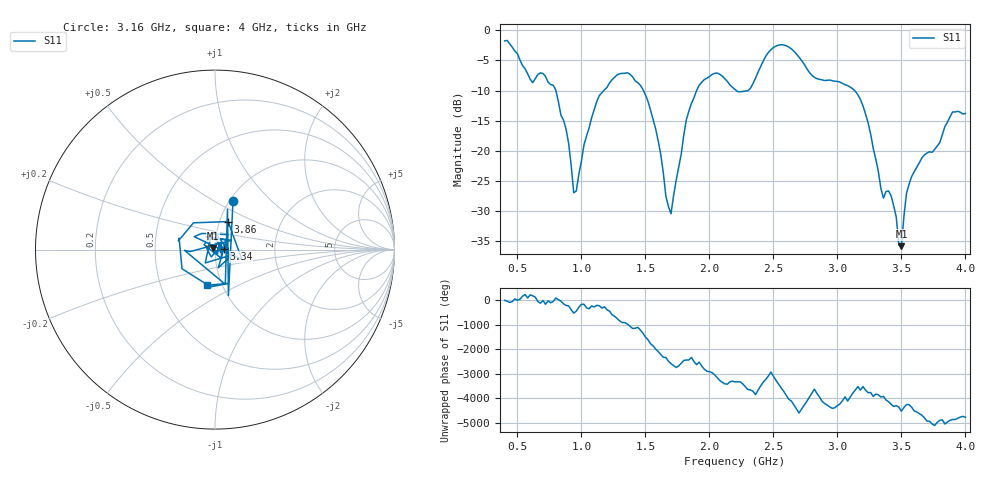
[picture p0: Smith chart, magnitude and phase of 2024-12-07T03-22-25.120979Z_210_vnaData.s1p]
!Created with skrf (http://scikit-rf.org).
# Hz S RI R 50.0
!freq ReS11 ImS11
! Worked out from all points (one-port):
!   181 points, 400 MHz to 4 GHz, reference 50 ohm
!   lowest |S11| = -35.9 dB at 3.5 GHz (marker M1), VSWR 1.03, Z = 48.7 + j0.91 ohm
!   |S11| at or under -10 dB: 800.6 MHz to 1.175 GHz (374.3 MHz wide, 37.9 % of centre); 1.485 GHz to 1.9 GHz (415.3 MHz wide, 24.5 % of centre); 3.134 GHz to end of sweep (the widest 3 of 4)
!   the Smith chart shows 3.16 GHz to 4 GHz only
!   S11 on the Smith chart (normalised r, x): 3.16 GHz: 1.04, +0.62; 3.34 GHz: 1.10, +0.01; 3.86 GHz: 1.10, +0.35; 4 GHz: 0.85, -0.35
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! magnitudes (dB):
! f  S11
! 400 MHz  -1.7
! 620 MHz  -8.7
! 780 MHz  -9.1
! 860 MHz  -14.9
! 900 MHz  -18.8
! 940 MHz  -27.0
! 960 MHz  -26.7
! 1.12 GHz  -11.8
! 1.3 GHz  -7.2
! 1.52 GHz  -11.8
! 1.7 GHz  -30.5
! 1.76 GHz  -22.8
! 1.82 GHz  -14.8
! 1.92 GHz  -9.1
! 2.06 GHz  -7.1
! 2.2 GHz  -9.8
! 2.32 GHz  -9.6
! 2.5 GHz  -2.9
! 2.66 GHz  -3.5
! 3.1 GHz  -9.4
! 3.16 GHz  -10.7
! 3.24 GHz  -15.4
! 3.34 GHz  -26.3
! 3.42 GHz  -27.5
! 3.5 GHz  -35.9
! 3.56 GHz  -25.6
! 3.86 GHz  -15.3
! 4 GHz  -13.8
